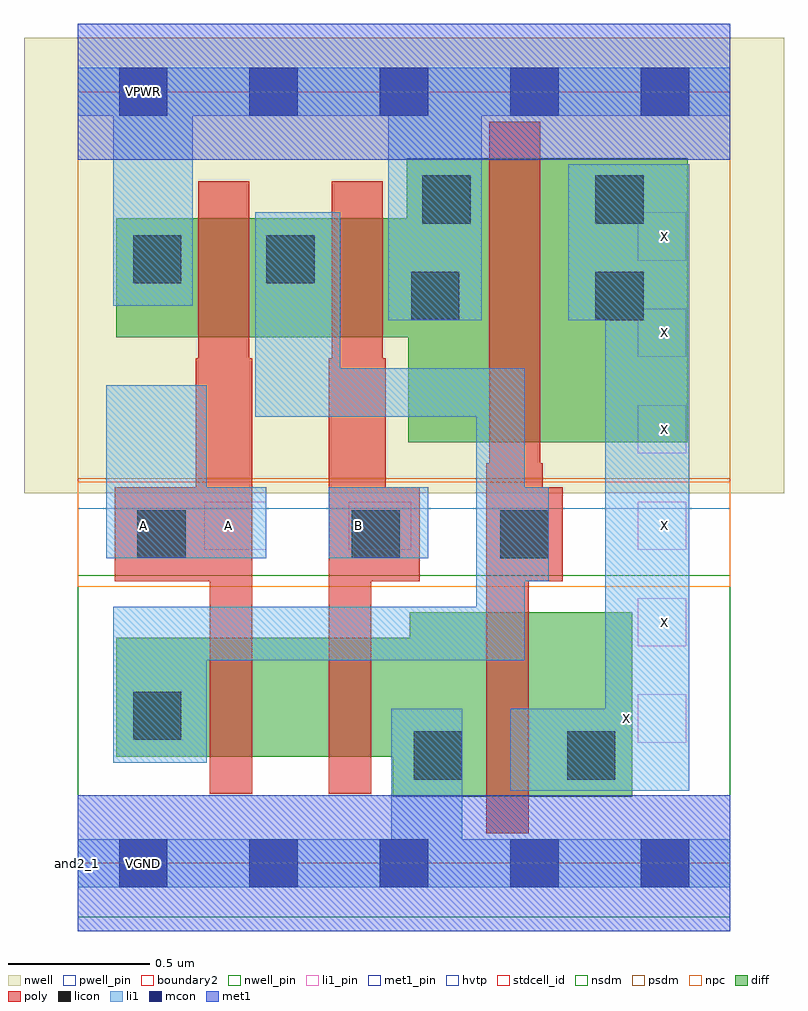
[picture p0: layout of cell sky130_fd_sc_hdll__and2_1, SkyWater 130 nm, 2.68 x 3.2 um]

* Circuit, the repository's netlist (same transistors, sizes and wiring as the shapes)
* Copyright 2020 The SkyWater PDK Authors
*
* Licensed under the Apache License, Version 2.0 (the "License");
* you may not use this file except in compliance with the License.
* You may obtain a copy of the License at
*
*     https://www.apache.org/licenses/LICENSE-2.0
*
* Unless required by applicable law or agreed to in writing, software
* distributed under the License is distributed on an "AS IS" BASIS,
* WITHOUT WARRANTIES OR CONDITIONS OF ANY KIND, either express or implied.
* See the License for the specific language governing permissions and
* limitations under the License.
*
* SPDX-License-Identifier: Apache-2.0

.SUBCKT sky130_fd_sc_hdll__and2_1 A B VGND VNB VPB VPWR X
*.PININFO A:I B:I VGND:I VNB:I VPB:I VPWR:I X:O
MMP0 y A VPWR VPB sky130_fd_pr__pfet_01v8_hvt m=1 w=0.42U l=0.18U mult=1 sa=0.265
+ sb=0.265 sd=0.28 area=0.063 perim=1.14
MMP1 y B VPWR VPB sky130_fd_pr__pfet_01v8_hvt m=1 w=0.42U l=0.18U mult=1 sa=0.265
+ sb=0.265 sd=0.28 area=0.063 perim=1.14
MMIP0 X y VPWR VPB sky130_fd_pr__pfet_01v8_hvt m=1 w=1.0U l=0.18U mult=1 sa=0.265
+ sb=0.265 sd=0.28 area=0.063 perim=1.14
MMN0 y A sndA VNB sky130_fd_pr__nfet_01v8 m=1 w=0.42U l=0.15U mult=1 sa=0.265 sb=0.265
+ sd=0.28 area=0.063 perim=1.14
MMN1 sndA B VGND VNB sky130_fd_pr__nfet_01v8 m=1 w=0.42U l=0.15U mult=1 sa=0.265
+ sb=0.265 sd=0.28 area=0.063 perim=1.14
MMIN0 X y VGND VNB sky130_fd_pr__nfet_01v8 m=1 w=0.65U l=0.15U mult=1 sa=0.265
+ sb=0.265 sd=0.28 area=0.063 perim=1.14
.ENDS sky130_fd_sc_hdll__and2_1

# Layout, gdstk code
import gdstk
lib = gdstk.Library(unit=1e-6, precision=1e-09)
def R(c, l, rs):  # rectangles x0, y0, x1, y1
    for r in rs: c.add(gdstk.rectangle(r[:2], r[2:], *l))
def A(c, l, x, y, w, h, nx, ny, dx, dy):  # array of equal rectangles
    R(c, l, [(x+i*dx, y+j*dy, x+i*dx+w, y+j*dy+h) for i in range(nx) for j in range(ny)])
def P(c, l, *ps):  # polygons
    for p in ps: c.add(gdstk.Polygon(p, *l))
nwell_pin = (64, 16)
nwell = (64, 20)
diff = (65, 20)
poly = (66, 20)
licon = (66, 44)
li1_pin = (67, 16)
li1 = (67, 20)
mcon = (67, 44)
met1_pin = (68, 16)
met1 = (68, 20)
hvtp = (78, 44)
stdcell_id = (81, 4)
nsdm = (93, 44)
psdm = (94, 20)
npc = (95, 20)
pwell_pin = (122, 16)
boundary2 = (236, 0)

sky130_fd_sc_hdll__and2_ = lib.new_cell('sky130_fd_sc_hdll__and2_1')
R(sky130_fd_sc_hdll__and2_, nwell_pin, [(0.145,2.635,0.315,2.805)])
R(sky130_fd_sc_hdll__and2_, nwell, [(-0.19,1.305,2.49,2.91)])
P(sky130_fd_sc_hdll__and2_, diff, [(1.955,0.885),(1.17,0.885),(1.17,0.795),(0.135,0.795),(0.135,0.375),(1.11,0.375),(1.11,0.235),(1.955,0.235)],
  [(2.15,2.485),(1.16,2.485),(1.16,2.275),(0.135,2.275),(0.135,1.855),(1.165,1.855),(1.165,1.485),(2.15,1.485)])
P(sky130_fd_sc_hdll__and2_, poly, [(0.615,1.78),(0.605,1.78),(0.605,2.405),(0.425,2.405),(0.425,1.78),(0.415,1.78),(0.415,1.325),(0.13,1.325),(0.13,0.995),(0.465,0.995),(0.465,0.245),(0.615,0.245)],
  [(1.205,1.325),(1.085,1.325),(1.085,1.78),(1.075,1.78),(1.075,2.405),(0.895,2.405),(0.895,1.78),(0.885,1.78),(0.885,0.245),(1.035,0.245),(1.035,0.995),(1.205,0.995)],
  [(1.71,1.325),(1.64,1.325),(1.64,1.41),(1.63,1.41),(1.63,2.615),(1.45,2.615),(1.45,1.41),(1.44,1.41),(1.44,0.105),(1.59,0.105),(1.59,0.995),(1.71,0.995)])
R(sky130_fd_sc_hdll__and2_, licon, [(1.185,0.295,1.355,0.465), (1.725,0.295,1.895,0.465), (0.195,0.435,0.365,0.605), (0.21,1.075,0.38,1.245), (0.965,1.075,1.135,1.245), (1.49,1.075,1.66,1.245), (1.175,1.915,1.345,2.085), (1.825,1.915,1.995,2.085), (0.195,2.045,0.365,2.215), (0.665,2.045,0.835,2.215), (1.215,2.255,1.385,2.425), (1.825,2.255,1.995,2.425)])
A(sky130_fd_sc_hdll__and2_, li1_pin, 1.975, 0.425, 0.17, 0.17, 1, 6, 0, 0.34)
R(sky130_fd_sc_hdll__and2_, li1_pin, [(0.445,1.105,0.665,1.275), (0.955,1.105,1.175,1.275)])
R(sky130_fd_sc_hdll__and2_, li1, [(0.885,1.075,1.235,1.325)])
P(sky130_fd_sc_hdll__and2_, li1, [(2.155,2.465),(1.73,2.465),(1.73,1.915),(1.86,1.915),(1.86,0.545),(1.525,0.545),(1.525,0.255),(2.155,0.255)],
  [(2.3,2.805),(0,2.805),(0,2.635),(0.125,2.635),(0.125,1.965),(0.405,1.965),(0.405,2.635),(1.095,2.635),(1.095,1.915),(1.425,1.915),(1.425,2.635),(2.3,2.635)],
  [(0.1,1.075),(0.1,1.685),(0.455,1.685),(0.455,1.325),(0.665,1.325),(0.665,1.075)],
  [(2.3,0.085),(1.355,0.085),(1.355,0.545),(1.105,0.545),(1.105,0.085),(0,0.085),(0,-0.085),(2.3,-0.085)],
  [(1.66,1.325),(1.575,1.325),(1.575,1.745),(0.925,1.745),(0.925,2.295),(0.625,2.295),(0.625,1.575),(1.405,1.575),(1.405,0.905),(0.125,0.905),(0.125,0.355),(0.455,0.355),(0.455,0.715),(1.575,0.715),(1.575,0.995),(1.66,0.995)])
A(sky130_fd_sc_hdll__and2_, mcon, 0.145, -0.085, 0.17, 0.17, 5, 2, 0.46, 2.72)
R(sky130_fd_sc_hdll__and2_, met1_pin, [(0.145,-0.085,0.315,0.085), (0.145,2.635,0.315,2.805)])
R(sky130_fd_sc_hdll__and2_, met1, [(0,-0.24,2.3,0.24), (0,2.48,2.3,2.96)])
R(sky130_fd_sc_hdll__and2_, hvtp, [(0,1.25,2.3,2.72)])
R(sky130_fd_sc_hdll__and2_, stdcell_id, [(0,0,2.3,2.72)])
R(sky130_fd_sc_hdll__and2_, nsdm, [(0,-0.19,2.3,1.015)])
R(sky130_fd_sc_hdll__and2_, psdm, [(0,1.355,2.3,2.91)])
R(sky130_fd_sc_hdll__and2_, npc, [(0,0.975,2.3,1.345)])
R(sky130_fd_sc_hdll__and2_, pwell_pin, [(0.145,-0.085,0.315,0.085)])
R(sky130_fd_sc_hdll__and2_, boundary2, [(0,0,2.3,2.72)])
sky130_fd_sc_hdll__and2_.add(gdstk.Label('VPWR', (0.23,2.72), layer=68, texttype=5))
sky130_fd_sc_hdll__and2_.add(gdstk.Label('VGND', (0.23,0), layer=68, texttype=5))
sky130_fd_sc_hdll__and2_.add(gdstk.Label('X', (2.07,0.85), layer=67, texttype=5))
sky130_fd_sc_hdll__and2_.add(gdstk.Label('X', (1.935,0.51), layer=67, texttype=5))
sky130_fd_sc_hdll__and2_.add(gdstk.Label('X', (2.07,1.19), layer=67, texttype=5))
sky130_fd_sc_hdll__and2_.add(gdstk.Label('X', (2.07,1.53), layer=67, texttype=5))
sky130_fd_sc_hdll__and2_.add(gdstk.Label('X', (2.07,1.87), layer=67, texttype=5))
sky130_fd_sc_hdll__and2_.add(gdstk.Label('X', (2.07,2.21), layer=67, texttype=5))
sky130_fd_sc_hdll__and2_.add(gdstk.Label('B', (0.99,1.19), layer=67, texttype=5))
sky130_fd_sc_hdll__and2_.add(gdstk.Label('A', (0.53,1.19), layer=67, texttype=5))
sky130_fd_sc_hdll__and2_.add(gdstk.Label('A', (0.23,1.19), layer=67, texttype=5))
sky130_fd_sc_hdll__and2_.add(gdstk.Label('VPB', (0.23,2.72), layer=64, texttype=5))
sky130_fd_sc_hdll__and2_.add(gdstk.Label('VNB', (0.23,0), layer=64, texttype=59))
sky130_fd_sc_hdll__and2_.add(gdstk.Label('and2_1', (0,0), layer=83, texttype=44))

lib.write_gds('sky130_fd_sc_hdll__and2_1.gds')
